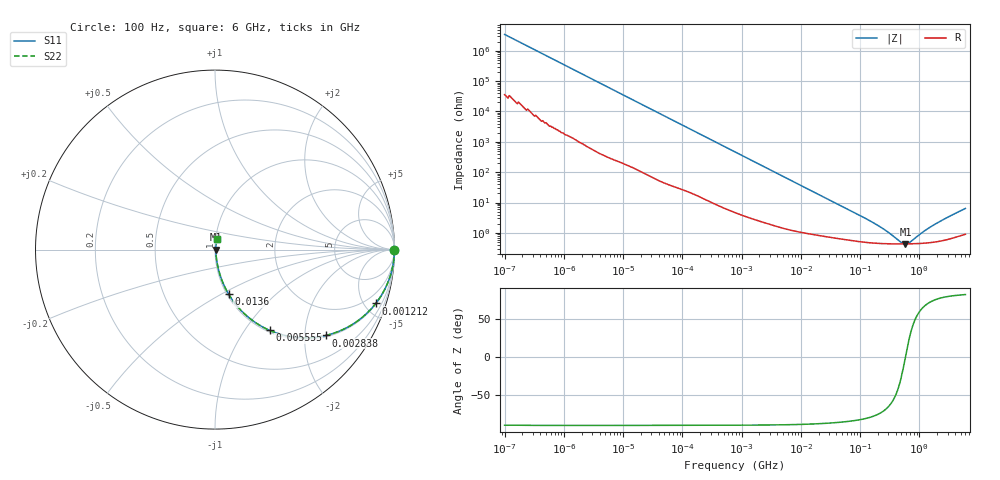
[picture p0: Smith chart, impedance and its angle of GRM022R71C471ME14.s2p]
!Murata Part Number: GRM022R71C471ME14
!These Parameters are Measured in Series Mode Connection
!Data Generated on Mar 30, 2021
!  o--ll--o
!Port1  Port2
!  o------o
!Operation Temp=25[degC], DC Bias Voltage=0[V]
!Freq. Start=100[Hz] Stop=6[GHz] 401[Steps]
# Hz S RI R 50
!Freq.(Hz) S11(Real) S11(Imag) S21(Real) S21(Imag) S12(Real) S12(Imag) S22(Real) S22(Imag)
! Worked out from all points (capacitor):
!   401 points, 100 Hz to 6 GHz, reference 50 ohm
!   read as one part in series: C = 458 pF near 109 Hz
!   lowest |Z| = 432 mohm at 584.8 MHz (marker M1)
!   series resonance near 583.7 MHz, so ESL is about 160 pH
!   S11 on the Smith chart (normalised r, x): 100 Hz: open; 1.212 MHz: 1.07, -5.94; 2.838 MHz: 1.04, -2.55; 5.555 MHz: 1.03, -1.31; 13.6 MHz: 1.02, -0.54; 6 GHz: 1.02, +0.13
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100  1 -2.89e-05  3e-07 2.89e-05  3e-07 2.89e-05  1 -2.89e-05
350  1 -0.0001  7e-07 0.0001  7e-07 0.0001  1 -0.0001
2008  1 -0.000572  3.2e-06 0.000572  3.2e-06 0.000572  1 -0.000572
40335  0.9998 -0.0114  0.000197 0.0114  0.000197 0.0114  0.9998 -0.0114
241822  0.9949 -0.0673  0.00513 0.0673  0.00513 0.0673  0.9949 -0.0673
774597  0.9537 -0.2051  0.0463 0.2051  0.0463 0.2051  0.9537 -0.2051
1212075  0.8956 -0.3002  0.1044 0.3002  0.1044 0.3002  0.8956 -0.3002
1813585  0.7955 -0.3969  0.2045 0.3969  0.2045 0.3969  0.7955 -0.3969
2837864  0.6178 -0.4783  0.3822 0.4783  0.3822 0.4783  0.6178 -0.4783
5554849  0.3041 -0.4499  0.6959 0.4499  0.6959 0.4499  0.3041 -0.4499
8692127  0.1565 -0.3505  0.8435 0.3505  0.8435 0.3505  0.1565 -0.3505
1.360128e7  0.0752 -0.247  0.9248 0.247  0.9248 0.247  0.0752 -0.247
1.555665e7  0.0603 -0.2199  0.9397 0.2199  0.9397 0.2199  0.0603 -0.2199
4.983056e7  0.0116 -0.0734  0.9884 0.0734  0.9884 0.0734  0.0116 -0.0734
1.596157e8  0.0051 -0.022  0.9949 0.022  0.9949 0.022  0.0051 -0.022
3.124326e8  0.00441 -0.00872  0.9956 0.00872  0.9956 0.00872  0.00441 -0.00872
4.888888e8  0.0043 -0.00233  0.9957 0.00233  0.9957 0.00233  0.0043 -0.00233
5.847788e8  0.0043 2.57e-05  0.9957 -2.57e-05  0.9957 -2.57e-05  0.0043 2.57e-05
6.994765e8  0.00433 0.00238  0.9957 -0.00238  0.9957 -0.00238  0.00433 0.00238
1.197065e9  0.00463 0.0102  0.9954 -0.0102  0.9954 -0.0102  0.00463 0.0102
1.873145e9  0.00533 0.0188  0.9947 -0.0188  0.9947 -0.0188  0.00533 0.0188
6e9  0.0127 0.0617  0.9873 -0.0617  0.9873 -0.0617  0.0127 0.0617
